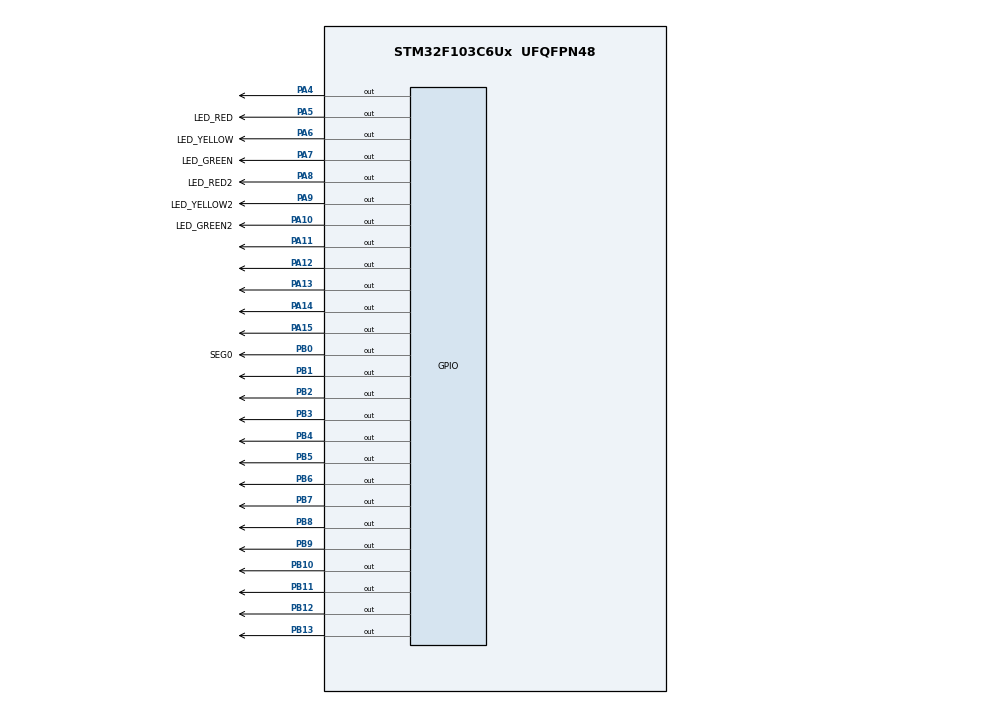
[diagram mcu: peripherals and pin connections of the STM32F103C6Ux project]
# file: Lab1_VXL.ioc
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Mcu.Family=STM32F1
Mcu.Name=STM32F103C6Ux
Mcu.Package=UFQFPN48
NVIC.PriorityGroup=NVIC_PRIORITYGROUP_4
PA10.GPIO_Label=LED_GREEN2
PA10.Signal=GPIO_Output
PA11.Signal=GPIO_Output
PA12.Signal=GPIO_Output
PA13.Signal=GPIO_Output
PA14.Signal=GPIO_Output
PA15.Signal=GPIO_Output
PA4.Signal=GPIO_Output
PA5.GPIO_Label=LED_RED
PA5.Signal=GPIO_Output
PA6.GPIO_Label=LED_YELLOW
PA6.Signal=GPIO_Output
PA7.GPIO_Label=LED_GREEN
PA7.Signal=GPIO_Output
PA8.GPIO_Label=LED_RED2
PA8.Signal=GPIO_Output
PA9.GPIO_Label=LED_YELLOW2
PA9.Signal=GPIO_Output
PB0.GPIO_Label=SEG0
PB0.Signal=GPIO_Output
PB1.Signal=GPIO_Output
PB10.Signal=GPIO_Output
PB11.Signal=GPIO_Output
PB12.Signal=GPIO_Output
PB13.Signal=GPIO_Output
PB2.Signal=GPIO_Output
PB3.Signal=GPIO_Output
PB4.Signal=GPIO_Output
PB5.Signal=GPIO_Output
PB6.Signal=GPIO_Output
PB7.Signal=GPIO_Output
PB8.Signal=GPIO_Output
PB9.Signal=GPIO_Output
ProjectManager.HeapSize=0x200
ProjectManager.StackSize=0x400
ProjectManager.TargetToolchain=STM32CubeIDE
RCC.APB1Freq_Value=8000000
RCC.APB2Freq_Value=8000000
board=custom

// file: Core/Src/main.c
/* USER CODE BEGIN Header */
/**
  ******************************************************************************
  * @file           : main.c
  * @brief          : Main program body
  ******************************************************************************
  * @attention
  *
  * Copyright (c) 2025 STMicroelectronics.
  * All rights reserved.
  *
  * This software is licensed under terms that can be found in the LICENSE file
  * in the root directory of this software component.
  * If no LICENSE file comes with this software, it is provided AS-IS.
  *
  ******************************************************************************
  */
/* USER CODE END Header */
#include "main.h"

/* USER CODE BEGIN PD */
#define ON  GPIO_PIN_RESET
#define OFF GPIO_PIN_SET
/* USER CODE END PD */

void SystemClock_Config(void);
static void MX_GPIO_Init(void);
/* USER CODE BEGIN PFP */
//void display(int num, GPIO_PinState state );
void clearAllClock(void);
void setNumberOnClock(int num);
void clearNumberOnClock(int num);

/* USER CODE END PFP */

int main(void)
{

  /* MCU Configuration--------------------------------------------------------*/

  /* Reset of all peripherals, Initializes the Flash interface and the Systick. */
  HAL_Init();

  /* Configure the system clock */
  SystemClock_Config();

  /* Initialize all configured peripherals */
  MX_GPIO_Init();

  /* USER CODE BEGIN 2 */
  int ms_count = 0; ;
    int hour = 0, minute = 0, second = 0;
   // clearAllClock();

  /* USER CODE END 2 */

  /* Infinite loop */
  while (1)
  {

    /* USER CODE BEGIN 3 */

	  clearAllClock();
	  setNumberOnClock(hour % 12);
	  setNumberOnClock(minute % 12);
	  setNumberOnClock(second % 12);
	  HAL_Delay(10);
	  ms_count += 10;
	  if(ms_count >= 100) {
		  ms_count = 0;
		  second++;
		  if(second >= 60) {
			  second = 0;
			  minute++;
			  //if (minute == 59) HAL_Delay(100);
			  if(minute >= 12) {
				  minute = 0;
				  hour++;
				  if(hour >= 12) hour = 0;
			  }
	             }
	         }
  }

  /* USER CODE END 3 */
}

void SystemClock_Config(void)
{
  RCC_OscInitTypeDef RCC_OscInitStruct = {0};
  RCC_ClkInitTypeDef RCC_ClkInitStruct = {0};

  /** Initializes the RCC Oscillators according to the specified parameters
  * in the RCC_OscInitTypeDef structure.
  */
  RCC_OscInitStruct.OscillatorType = RCC_OSCILLATORTYPE_HSI;
  RCC_OscInitStruct.HSIState = RCC_HSI_ON;
  RCC_OscInitStruct.HSICalibrationValue = RCC_HSICALIBRATION_DEFAULT;
  RCC_OscInitStruct.PLL.PLLState = RCC_PLL_NONE;
  if (HAL_RCC_OscConfig(&RCC_OscInitStruct) != HAL_OK)
  {
    Error_Handler();
  }

  /** Initializes the CPU, AHB and APB buses clocks
  */
  RCC_ClkInitStruct.ClockType = RCC_CLOCKTYPE_HCLK|RCC_CLOCKTYPE_SYSCLK
                              |RCC_CLOCKTYPE_PCLK1|RCC_CLOCKTYPE_PCLK2;
  RCC_ClkInitStruct.SYSCLKSource = RCC_SYSCLKSOURCE_HSI;
  RCC_ClkInitStruct.AHBCLKDivider = RCC_SYSCLK_DIV1;
  RCC_ClkInitStruct.APB1CLKDivider = RCC_HCLK_DIV1;
  RCC_ClkInitStruct.APB2CLKDivider = RCC_HCLK_DIV1;

  if (HAL_RCC_ClockConfig(&RCC_ClkInitStruct, FLASH_LATENCY_0) != HAL_OK)
  {
    Error_Handler();
  }
}

static void MX_GPIO_Init(void)
{
  GPIO_InitTypeDef GPIO_InitStruct = {0};

  /* GPIO Ports Clock Enable */
  __HAL_RCC_GPIOA_CLK_ENABLE();
  __HAL_RCC_GPIOB_CLK_ENABLE();

  /*Configure GPIO pin Output Level */
  HAL_GPIO_WritePin(GPIOA, GPIO_PIN_4|LED_RED_Pin|LED_YELLOW_Pin|LED_GREEN_Pin
                          |LED_RED2_Pin|LED_YELLOW2_Pin|LED_GREEN2_Pin|GPIO_PIN_11
                          |GPIO_PIN_12|GPIO_PIN_13|GPIO_PIN_14|GPIO_PIN_15, GPIO_PIN_RESET);

  /*Configure GPIO pin Output Level */
  HAL_GPIO_WritePin(GPIOB, SEG0_Pin|GPIO_PIN_1|GPIO_PIN_2|GPIO_PIN_10
                          |GPIO_PIN_11|GPIO_PIN_12|GPIO_PIN_13|GPIO_PIN_3
                          |GPIO_PIN_4|GPIO_PIN_5|GPIO_PIN_6|GPIO_PIN_7
                          |GPIO_PIN_8|GPIO_PIN_9, GPIO_PIN_RESET);

  /*Configure GPIO pins : PA4 LED_RED_Pin LED_YELLOW_Pin LED_GREEN_Pin
                           LED_RED2_Pin LED_YELLOW2_Pin LED_GREEN2_Pin PA11
                           PA12 PA13 PA14 PA15 */
  GPIO_InitStruct.Pin = GPIO_PIN_4|LED_RED_Pin|LED_YELLOW_Pin|LED_GREEN_Pin
                          |LED_RED2_Pin|LED_YELLOW2_Pin|LED_GREEN2_Pin|GPIO_PIN_11
                          |GPIO_PIN_12|GPIO_PIN_13|GPIO_PIN_14|GPIO_PIN_15;
  GPIO_InitStruct.Mode = GPIO_MODE_OUTPUT_PP;
  GPIO_InitStruct.Pull = GPIO_NOPULL;
  GPIO_InitStruct.Speed = GPIO_SPEED_FREQ_LOW;
  HAL_GPIO_Init(GPIOA, &GPIO_InitStruct);

  /*Configure GPIO pins : SEG0_Pin PB1 PB2 PB10
                           PB11 PB12 PB13 PB3
                           PB4 PB5 PB6 PB7
                           PB8 PB9 */
  GPIO_InitStruct.Pin = SEG0_Pin|GPIO_PIN_1|GPIO_PIN_2|GPIO_PIN_10
                          |GPIO_PIN_11|GPIO_PIN_12|GPIO_PIN_13|GPIO_PIN_3
                          |GPIO_PIN_4|GPIO_PIN_5|GPIO_PIN_6|GPIO_PIN_7
                          |GPIO_PIN_8|GPIO_PIN_9;
  GPIO_InitStruct.Mode = GPIO_MODE_OUTPUT_PP;
  GPIO_InitStruct.Pull = GPIO_NOPULL;
  GPIO_InitStruct.Speed = GPIO_SPEED_FREQ_LOW;
  HAL_GPIO_Init(GPIOB, &GPIO_InitStruct);

}

/* USER CODE BEGIN 4 */
void setNumberOnClock(int num){
	HAL_GPIO_WritePin(GPIOA, (1 << (num + 4)), ON);
}
void clearNumberOnClock(int num) {
    if (num >= 0 && num < 12)
    	HAL_GPIO_WritePin(GPIOA, (1 << (num + 4)), OFF);
}

void clearAllClock(void) {
    HAL_GPIO_WritePin(GPIOA, GPIO_PIN_4,  GPIO_PIN_SET);
    HAL_GPIO_WritePin(GPIOA, GPIO_PIN_5,  GPIO_PIN_SET);
    HAL_GPIO_WritePin(GPIOA, GPIO_PIN_6,  GPIO_PIN_SET);
    HAL_GPIO_WritePin(GPIOA, GPIO_PIN_7,  GPIO_PIN_SET);
    HAL_GPIO_WritePin(GPIOA, GPIO_PIN_8,  GPIO_PIN_SET);
    HAL_GPIO_WritePin(GPIOA, GPIO_PIN_9,  GPIO_PIN_SET);
    HAL_GPIO_WritePin(GPIOA, GPIO_PIN_10, GPIO_PIN_SET);
    HAL_GPIO_WritePin(GPIOA, GPIO_PIN_11, GPIO_PIN_SET);
    HAL_GPIO_WritePin(GPIOA, GPIO_PIN_12, GPIO_PIN_SET);
    HAL_GPIO_WritePin(GPIOA, GPIO_PIN_13, GPIO_PIN_SET);
    HAL_GPIO_WritePin(GPIOA, GPIO_PIN_14, GPIO_PIN_SET);
    HAL_GPIO_WritePin(GPIOA, GPIO_PIN_15, GPIO_PIN_SET);
}

/* USER CODE END 4 */

void Error_Handler(void)
{
  __disable_irq();
  while (1)
  {
  }
}
